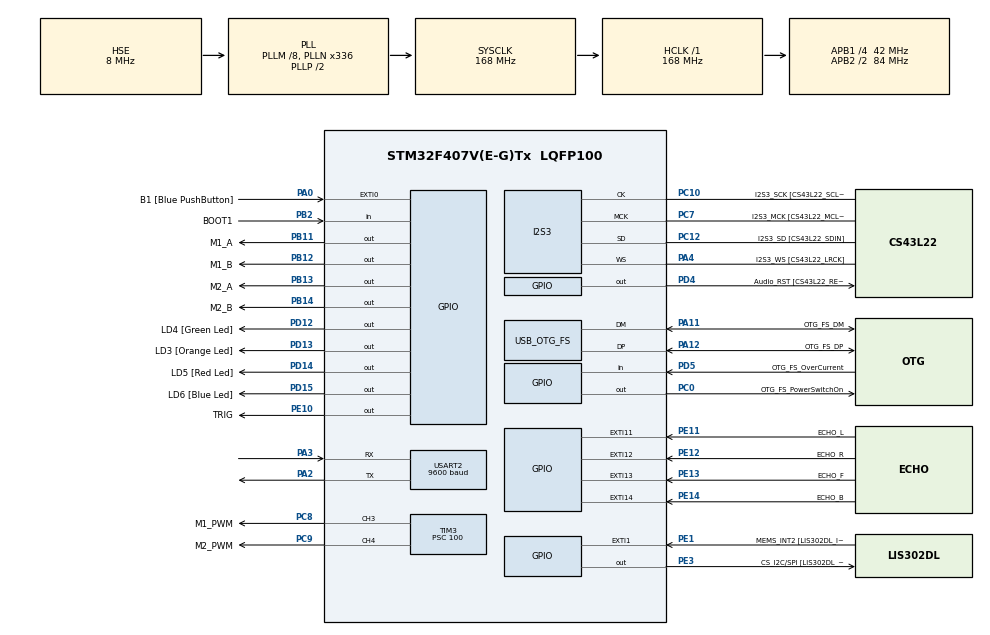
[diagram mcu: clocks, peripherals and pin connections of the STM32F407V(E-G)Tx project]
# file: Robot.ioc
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I2S3.AudioFreq-Half_Duplex_Master=I2S_AUDIOFREQ_96K
I2S3.ErrorAudioFreq=-2.34 %
I2S3.ErrorAudioFreq-Half_Duplex_Master=0.8 %
I2S3.FullDuplexMode=I2S_FULLDUPLEXMODE_DISABLE
I2S3.Instance=SPI$Index
I2S3.RealAudioFreq=93.75 KHz
I2S3.RealAudioFreq-Half_Duplex_Master=96.774 KHz
I2S3.VirtualMode=I2S_MODE_MASTER
Mcu.Family=STM32F4
Mcu.Name=STM32F407V(E-G)Tx
Mcu.Package=LQFP100
NVIC.OTG_FS_IRQn=true\:0\:0\:false\:false\:true\:true\:true\:true
NVIC.PriorityGroup=NVIC_PRIORITYGROUP_0
NVIC.USART2_IRQn=true\:0\:0\:false\:false\:true\:true\:true\:true
PA0-WKUP.GPIO_Label=B1 [Blue PushButton]
PA0-WKUP.GPIO_ModeDefaultEXTI=GPIO_MODE_IT_RISING_FALLING
PA0-WKUP.GPIO_PuPd=GPIO_NOPULL
PA0-WKUP.Signal=GPXTI0
PA10.GPIO_Label=OTG_FS_ID
PA10.GPIO_Mode=GPIO_MODE_AF_PP
PA10.GPIO_PuPd=GPIO_NOPULL
PA10.GPIO_Speed=GPIO_SPEED_FREQ_LOW
PA10.Signal=USB_OTG_FS_ID
PA11.GPIO_Label=OTG_FS_DM
PA11.GPIO_Mode=GPIO_MODE_AF_PP
PA11.GPIO_PuPd=GPIO_NOPULL
PA11.GPIO_Speed=GPIO_SPEED_FREQ_LOW
PA11.Mode=Device_Only
PA11.Signal=USB_OTG_FS_DM
PA12.GPIO_Label=OTG_FS_DP
PA12.GPIO_Mode=GPIO_MODE_AF_PP
PA12.GPIO_PuPd=GPIO_NOPULL
PA12.GPIO_Speed=GPIO_SPEED_FREQ_LOW
PA12.Mode=Device_Only
PA12.Signal=USB_OTG_FS_DP
PA13.GPIO_Label=SWDIO
PA13.Mode=Serial_Wire
PA13.Signal=SYS_JTMS-SWDIO
PA14.GPIO_Label=SWCLK
PA14.Mode=Serial_Wire
PA14.Signal=SYS_JTCK-SWCLK
PA2.Mode=Asynchronous
PA2.Signal=USART2_TX
PA3.Mode=Asynchronous
PA3.Signal=USART2_RX
PA4.GPIO_Label=I2S3_WS [CS43L22_LRCK]
PA4.GPIO_Mode=GPIO_MODE_AF_PP
PA4.GPIO_PuPd=GPIO_NOPULL
PA4.GPIO_Speed=GPIO_SPEED_FREQ_LOW
PA4.Mode=Half_Duplex_Master
PA4.Signal=I2S3_WS
PA5.GPIO_Label=SPI1_SCK [LIS302DL_SCL/SPC]
PA5.GPIO_Mode=GPIO_MODE_AF_PP
PA5.GPIO_PuPd=GPIO_NOPULL
PA5.GPIO_Speed=GPIO_SPEED_FREQ_LOW
PA5.Signal=SPI1_SCK
PA6.GPIO_Label=SPI1_MISO [LIS302DL_SDO]
PA6.GPIO_Mode=GPIO_MODE_AF_PP
PA6.GPIO_PuPd=GPIO_NOPULL
PA6.GPIO_Speed=GPIO_SPEED_FREQ_LOW
PA6.Signal=SPI1_MISO
PA7.GPIO_Label=SPI1_MOSI [LIS302DL_SDA/SDI/SDO]
PA7.GPIO_Mode=GPIO_MODE_AF_PP
PA7.GPIO_PuPd=GPIO_NOPULL
PA7.GPIO_Speed=GPIO_SPEED_FREQ_LOW
PA7.Signal=SPI1_MOSI
PA9.GPIO_Label=VBUS_FS
PA9.GPIO_Mode=GPIO_MODE_INPUT
PA9.GPIO_PuPd=GPIO_NOPULL
PA9.Signal=USB_OTG_FS_VBUS
PB10.GPIO_Label=CLK_IN [MP45DT02_CLK]
PB10.GPIO_Mode=GPIO_MODE_AF_PP
PB10.GPIO_PuPd=GPIO_NOPULL
PB10.GPIO_Speed=GPIO_SPEED_FREQ_LOW
PB10.Signal=I2S2_CK
PB11.GPIO_Label=M1_A
PB11.Signal=GPIO_Output
PB12.GPIO_Label=M1_B
PB12.Signal=GPIO_Output
PB13.GPIO_Label=M2_A
PB13.Signal=GPIO_Output
PB14.GPIO_Label=M2_B
PB14.Signal=GPIO_Output
PB2.GPIO_Label=BOOT1
PB2.GPIO_Mode=GPIO_MODE_INPUT
PB2.GPIO_PuPd=GPIO_NOPULL
PB2.Signal=GPIO_Input
PB3.GPIO_Label=SWO
PB3.Signal=SYS_JTDO-SWO
PB6.GPIO_Label=Audio_SCL [CS43L22_SCL]
PB6.GPIO_Mode=GPIO_MODE_AF_OD
PB6.GPIO_Pu=GPIO_PULLUP
PB6.GPIO_PuPd=GPIO_NOPULL
PB6.GPIO_Speed=GPIO_SPEED_FREQ_LOW
PB6.Signal=I2C1_SCL
PB9.GPIO_Label=Audio_SDA [CS43L22_SDA]
PB9.GPIO_Mode=GPIO_MODE_AF_OD
PB9.GPIO_Pu=GPIO_PULLUP
PB9.GPIO_PuPd=GPIO_NOPULL
PB9.GPIO_Speed=GPIO_SPEED_FREQ_LOW
PB9.Signal=I2C1_SDA
PC0.GPIO_Label=OTG_FS_PowerSwitchOn
PC0.GPIO_PuPd=GPIO_NOPULL
PC0.GPIO_Speed=GPIO_SPEED_FREQ_LOW
PC0.PinState=GPIO_PIN_SET
PC0.Signal=GPIO_Output
PC10.GPIO_Label=I2S3_SCK [CS43L22_SCLK]
PC10.GPIO_Mode=GPIO_MODE_AF_PP
PC10.GPIO_PuPd=GPIO_NOPULL
PC10.GPIO_Speed=GPIO_SPEED_FREQ_LOW
PC10.Mode=Half_Duplex_Master
PC10.Signal=I2S3_CK
PC12.GPIO_Label=I2S3_SD [CS43L22_SDIN]
PC12.GPIO_Mode=GPIO_MODE_AF_PP
PC12.GPIO_PuPd=GPIO_NOPULL
PC12.GPIO_Speed=GPIO_SPEED_FREQ_LOW
PC12.Mode=Half_Duplex_Master
PC12.Signal=I2S3_SD
PC14-OSC32_IN.GPIO_Label=PC14-OSC32_IN
PC14-OSC32_IN.Mode=LSE-External-Oscillator
PC14-OSC32_IN.Signal=RCC_OSC32_IN
PC15-OSC32_OUT.GPIO_Label=PC15-OSC32_OUT
PC15-OSC32_OUT.Mode=LSE-External-Oscillator
PC15-OSC32_OUT.Signal=RCC_OSC32_OUT
PC3.GPIO_Label=PDM_OUT [MP45DT02_DOUT]
PC3.GPIO_Mode=GPIO_MODE_AF_PP
PC3.GPIO_PuPd=GPIO_NOPULL
PC3.GPIO_Speed=GPIO_SPEED_FREQ_LOW
PC3.Signal=I2S2_SD
PC7.GPIO_Label=I2S3_MCK [CS43L22_MCLK]
PC7.GPIO_Mode=GPIO_MODE_AF_PP
PC7.GPIO_PuPd=GPIO_NOPULL
PC7.GPIO_Speed=GPIO_SPEED_FREQ_LOW
PC7.Mode=Master_Clock_Activated
PC7.Signal=I2S3_MCK
PC8.GPIO_Label=M1_PWM
PC8.Signal=S_TIM3_CH3
PC9.GPIO_Label=M2_PWM
PC9.Signal=S_TIM3_CH4
PD12.GPIO_Label=LD4 [Green Led]
PD12.GPIO_PuPd=GPIO_NOPULL
PD12.GPIO_Speed=GPIO_SPEED_FREQ_LOW
PD12.Signal=GPIO_Output
PD13.GPIO_Label=LD3 [Orange Led]
PD13.GPIO_PuPd=GPIO_NOPULL
PD13.GPIO_Speed=GPIO_SPEED_FREQ_LOW
PD13.Signal=GPIO_Output
PD14.GPIO_Label=LD5 [Red Led]
PD14.GPIO_PuPd=GPIO_NOPULL
PD14.GPIO_Speed=GPIO_SPEED_FREQ_LOW
PD14.Signal=GPIO_Output
PD15.GPIO_Label=LD6 [Blue Led]
PD15.GPIO_PuPd=GPIO_NOPULL
PD15.GPIO_Speed=GPIO_SPEED_FREQ_LOW
PD15.Signal=GPIO_Output
PD4.GPIO_Label=Audio_RST [CS43L22_RESET]
PD4.GPIO_PuPd=GPIO_NOPULL
PD4.GPIO_Speed=GPIO_SPEED_FREQ_LOW
PD4.Signal=GPIO_Output
PD5.GPIO_Label=OTG_FS_OverCurrent
PD5.GPIO_Mode=GPIO_MODE_INPUT
PD5.GPIO_PuPd=GPIO_NOPULL
PD5.Signal=GPIO_Input
PE1.GPIO_Label=MEMS_INT2 [LIS302DL_INT2]
PE1.GPIO_ModeDefaultEXTI=GPIO_MODE_EVT_RISING
PE1.GPIO_PuPd=GPIO_NOPULL
PE1.Signal=GPXTI1
PE10.GPIO_Label=TRIG
PE10.Signal=GPIO_Output
PE11.GPIO_Label=ECHO_L
PE11.GPIO_ModeDefaultEXTI=GPIO_MODE_IT_RISING_FALLING
PE11.GPIO_PuPd=GPIO_NOPULL
PE11.Signal=GPXTI11
PE12.GPIO_Label=ECHO_R
PE12.GPIO_ModeDefaultEXTI=GPIO_MODE_IT_RISING_FALLING
PE12.GPIO_PuPd=GPIO_NOPULL
PE12.Signal=GPXTI12
PE13.GPIO_Label=ECHO_F
PE13.GPIO_ModeDefaultEXTI=GPIO_MODE_IT_RISING_FALLING
PE13.GPIO_PuPd=GPIO_NOPULL
PE13.Signal=GPXTI13
PE14.GPIO_Label=ECHO_B
PE14.GPIO_ModeDefaultEXTI=GPIO_MODE_IT_RISING_FALLING
PE14.GPIO_PuPd=GPIO_NOPULL
PE14.Signal=GPXTI14
PE3.GPIO_Label=CS_I2C/SPI [LIS302DL_CS_I2C/SPI]
PE3.GPIO_PuPd=GPIO_NOPULL
PE3.GPIO_Speed=GPIO_SPEED_FREQ_LOW
PE3.Signal=GPIO_Output
PH0-OSC_IN.GPIO_Label=PH0-OSC_IN
PH0-OSC_IN.Mode=HSE-External-Oscillator
PH0-OSC_IN.Signal=RCC_OSC_IN
PH1-OSC_OUT.GPIO_Label=PH1-OSC_OUT
PH1-OSC_OUT.Mode=HSE-External-Oscillator
PH1-OSC_OUT.Signal=RCC_OSC_OUT
ProjectManager.HeapSize=0x200
ProjectManager.StackSize=0x400
ProjectManager.TargetToolchain=STM32CubeIDE
RCC.48MHZClocksFreq_Value=48000000
RCC.AHBFreq_Value=168000000
RCC.APB1CLKDivider=RCC_HCLK_DIV4
RCC.APB1Freq_Value=42000000
RCC.APB1TimFreq_Value=84000000
RCC.APB2CLKDivider=RCC_HCLK_DIV2
RCC.APB2Freq_Value=84000000
RCC.APB2TimFreq_Value=168000000
RCC.CortexFreq_Value=168000000
RCC.HCLKFreq_Value=168000000
RCC.HSE_VALUE=8000000
RCC.HSI_VALUE=16000000
RCC.PLLM=8
RCC.PLLN=336
RCC.PLLQ=7
RCC.SYSCLKFreq_VALUE=168000000
RCC.SYSCLKSource=RCC_SYSCLKSOURCE_PLLCLK
RCC.VCOOutputFreq_Value=336000000
SH.S_TIM3_CH3.0=TIM3_CH3,PWM Generation3 CH3
SH.S_TIM3_CH4.0=TIM3_CH4,PWM Generation4 CH4
TIM2.Period=0xffffffff
TIM2.Prescaler=84-1
TIM3.Channel-PWM\ Generation3\ CH3=TIM_CHANNEL_3
TIM3.Channel-PWM\ Generation4\ CH4=TIM_CHANNEL_4
TIM3.Period=84-1
TIM3.Prescaler=100
TIM4.Period=100000-1
TIM4.Prescaler=84-1
USART2.BaudRate=9600
USART2.VirtualMode=VM_ASYNC
USB_DEVICE.CLASS_NAME_FS=CDC
USB_DEVICE.VirtualMode-CDC_FS=Cdc
USB_DEVICE.VirtualModeFS=Cdc_FS
USB_OTG_FS.VirtualMode=Device_Only
VP_TIM2_VS_ClockSourceINT.Mode=Internal
VP_TIM3_VS_ClockSourceINT.Mode=Internal
VP_TIM4_VS_ClockSourceINT.Mode=Internal
VP_USB_DEVICE_VS_USB_DEVICE_CDC_FS.Mode=CDC_FS
board=STM32F407G-DISC1

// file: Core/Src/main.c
/* USER CODE BEGIN Header */
/**
  ******************************************************************************
  * @file           : main.c
  * @brief          : Main program body
  ******************************************************************************
  * @attention
  *
  * Copyright (c) 2026 STMicroelectronics.
  * All rights reserved.
  *
  * This software is licensed under terms that can be found in the LICENSE file
  * in the root directory of this software component.
  * If no LICENSE file comes with this software, it is provided AS-IS.
  *
  ******************************************************************************
  */
/* USER CODE END Header */
#include "main.h"
#include "usb_device.h"

/* USER CODE BEGIN Includes */
#include <stdio.h>
#include "sonar.h"
#include "motor.h"
#include "maze_map_manual.h"

/* USER CODE END Includes */

I2S_HandleTypeDef hi2s3;

TIM_HandleTypeDef htim2;
TIM_HandleTypeDef htim3;
TIM_HandleTypeDef htim4;

UART_HandleTypeDef huart2;

/* USER CODE BEGIN PV */
volatile uint32_t sonar_print_counter = 0;
volatile uint8_t cmd_buffer = 0;

/* USER CODE END PV */

void SystemClock_Config(void);
static void MX_GPIO_Init(void);
static void MX_I2S3_Init(void);
static void MX_TIM2_Init(void);
static void MX_TIM3_Init(void);
static void MX_USART2_UART_Init(void);
static void MX_TIM4_Init(void);

int main(void)
{

  /* MCU Configuration--------------------------------------------------------*/

  /* Reset of all peripherals, Initializes the Flash interface and the Systick. */
  HAL_Init();

  /* Configure the system clock */
  SystemClock_Config();

  /* Initialize all configured peripherals */
  MX_GPIO_Init();
  MX_I2S3_Init();
  MX_TIM2_Init();
  MX_TIM3_Init();
  MX_USART2_UART_Init();
  MX_USB_DEVICE_Init();
  MX_TIM4_Init();
  /* USER CODE BEGIN 2 */

  // Initialize motor control
  motor_init(&htim3);

  // Initialize sonar driver with TIM2
  sonar_init(GPIOE, TRIG_Pin, &htim2);

  // Start TIM4 to trigger sonar measurements periodically
  HAL_TIM_Base_Start_IT(&htim4);

  // Enable UART receive interrupt for remote control
  HAL_UART_Receive_IT(&huart2, (uint8_t*)&cmd_buffer, 1);

  // Initialize manual mapper controlled via UART 'n' key
  maze_map_manual_init(&huart2);

  /* USER CODE END 2 */

  /* Infinite loop */
  while (1)
  {
	  motor_tick();
	  motor_auto_tick();
    /* USER CODE BEGIN 3 */

    // Print distances every second
    sonar_print_counter++;
    if (sonar_print_counter >= 10) {
      sonar_print_counter = 0;

      uint16_t dist0 = sonar_get_distance(0);
      uint16_t dist1 = sonar_get_distance(1);
      uint16_t dist2 = sonar_get_distance(2);
      uint16_t dist3 = sonar_get_distance(3);

      uint8_t msg[64];
      int len = sprintf((char*)msg, "Sonar: F=%dcm B=%dcm L=%dcm R=%dcm\r\n",
        dist0, dist1, dist3, dist2);
      HAL_UART_Transmit(&huart2, msg, len, HAL_MAX_DELAY);
    }

    HAL_Delay(100);
  }
  /* USER CODE END 3 */
}

void SystemClock_Config(void)
{
  RCC_OscInitTypeDef RCC_OscInitStruct = {0};
  RCC_ClkInitTypeDef RCC_ClkInitStruct = {0};

  /** Configure the main internal regulator output voltage
  */
  __HAL_RCC_PWR_CLK_ENABLE();
  __HAL_PWR_VOLTAGESCALING_CONFIG(PWR_REGULATOR_VOLTAGE_SCALE1);

  /** Initializes the RCC Oscillators according to the specified parameters
  * in the RCC_OscInitTypeDef structure.
  */
  RCC_OscInitStruct.OscillatorType = RCC_OSCILLATORTYPE_HSE;
  RCC_OscInitStruct.HSEState = RCC_HSE_ON;
  RCC_OscInitStruct.PLL.PLLState = RCC_PLL_ON;
  RCC_OscInitStruct.PLL.PLLSource = RCC_PLLSOURCE_HSE;
  RCC_OscInitStruct.PLL.PLLM = 8;
  RCC_OscInitStruct.PLL.PLLN = 336;
  RCC_OscInitStruct.PLL.PLLP = RCC_PLLP_DIV2;
  RCC_OscInitStruct.PLL.PLLQ = 7;
  if (HAL_RCC_OscConfig(&RCC_OscInitStruct) != HAL_OK)
  {
    Error_Handler();
  }

  /** Initializes the CPU, AHB and APB buses clocks
  */
  RCC_ClkInitStruct.ClockType = RCC_CLOCKTYPE_HCLK|RCC_CLOCKTYPE_SYSCLK
                              |RCC_CLOCKTYPE_PCLK1|RCC_CLOCKTYPE_PCLK2;
  RCC_ClkInitStruct.SYSCLKSource = RCC_SYSCLKSOURCE_PLLCLK;
  RCC_ClkInitStruct.AHBCLKDivider = RCC_SYSCLK_DIV1;
  RCC_ClkInitStruct.APB1CLKDivider = RCC_HCLK_DIV4;
  RCC_ClkInitStruct.APB2CLKDivider = RCC_HCLK_DIV2;

  if (HAL_RCC_ClockConfig(&RCC_ClkInitStruct, FLASH_LATENCY_5) != HAL_OK)
  {
    Error_Handler();
  }
}

static void MX_I2S3_Init(void)
{

  hi2s3.Instance = SPI3;
  hi2s3.Init.Mode = I2S_MODE_MASTER_TX;
  hi2s3.Init.Standard = I2S_STANDARD_PHILIPS;
  hi2s3.Init.DataFormat = I2S_DATAFORMAT_16B;
  hi2s3.Init.MCLKOutput = I2S_MCLKOUTPUT_ENABLE;
  hi2s3.Init.AudioFreq = I2S_AUDIOFREQ_96K;
  hi2s3.Init.CPOL = I2S_CPOL_LOW;
  hi2s3.Init.ClockSource = I2S_CLOCK_PLL;
  hi2s3.Init.FullDuplexMode = I2S_FULLDUPLEXMODE_DISABLE;
  if (HAL_I2S_Init(&hi2s3) != HAL_OK)
  {
    Error_Handler();
  }

}

static void MX_TIM2_Init(void)
{

  TIM_ClockConfigTypeDef sClockSourceConfig = {0};
  TIM_MasterConfigTypeDef sMasterConfig = {0};

  htim2.Instance = TIM2;
  htim2.Init.Prescaler = 84-1;
  htim2.Init.CounterMode = TIM_COUNTERMODE_UP;
  htim2.Init.Period = 0xffffffff;
  htim2.Init.ClockDivision = TIM_CLOCKDIVISION_DIV1;
  htim2.Init.AutoReloadPreload = TIM_AUTORELOAD_PRELOAD_DISABLE;
  if (HAL_TIM_Base_Init(&htim2) != HAL_OK)
  {
    Error_Handler();
  }
  sClockSourceConfig.ClockSource = TIM_CLOCKSOURCE_INTERNAL;
  if (HAL_TIM_ConfigClockSource(&htim2, &sClockSourceConfig) != HAL_OK)
  {
    Error_Handler();
  }
  sMasterConfig.MasterOutputTrigger = TIM_TRGO_RESET;
  sMasterConfig.MasterSlaveMode = TIM_MASTERSLAVEMODE_DISABLE;
  if (HAL_TIMEx_MasterConfigSynchronization(&htim2, &sMasterConfig) != HAL_OK)
  {
    Error_Handler();
  }

}

static void MX_TIM3_Init(void)
{

  TIM_ClockConfigTypeDef sClockSourceConfig = {0};
  TIM_MasterConfigTypeDef sMasterConfig = {0};
  TIM_OC_InitTypeDef sConfigOC = {0};

  htim3.Instance = TIM3;
  htim3.Init.Prescaler = 0;
  htim3.Init.CounterMode = TIM_COUNTERMODE_UP;
  htim3.Init.Period = 65535;
  htim3.Init.ClockDivision = TIM_CLOCKDIVISION_DIV1;
  htim3.Init.AutoReloadPreload = TIM_AUTORELOAD_PRELOAD_DISABLE;
  if (HAL_TIM_Base_Init(&htim3) != HAL_OK)
  {
    Error_Handler();
  }
  sClockSourceConfig.ClockSource = TIM_CLOCKSOURCE_INTERNAL;
  if (HAL_TIM_ConfigClockSource(&htim3, &sClockSourceConfig) != HAL_OK)
  {
    Error_Handler();
  }
  if (HAL_TIM_PWM_Init(&htim3) != HAL_OK)
  {
    Error_Handler();
  }
  sMasterConfig.MasterOutputTrigger = TIM_TRGO_RESET;
  sMasterConfig.MasterSlaveMode = TIM_MASTERSLAVEMODE_DISABLE;
  if (HAL_TIMEx_MasterConfigSynchronization(&htim3, &sMasterConfig) != HAL_OK)
  {
    Error_Handler();
  }
  sConfigOC.OCMode = TIM_OCMODE_PWM1;
  sConfigOC.Pulse = 0;
  sConfigOC.OCPolarity = TIM_OCPOLARITY_HIGH;
  sConfigOC.OCFastMode = TIM_OCFAST_DISABLE;
  if (HAL_TIM_PWM_ConfigChannel(&htim3, &sConfigOC, TIM_CHANNEL_3) != HAL_OK)
  {
    Error_Handler();
  }
  if (HAL_TIM_PWM_ConfigChannel(&htim3, &sConfigOC, TIM_CHANNEL_4) != HAL_OK)
  {
    Error_Handler();
  }
  HAL_TIM_MspPostInit(&htim3);

}

static void MX_TIM4_Init(void)
{

  TIM_ClockConfigTypeDef sClockSourceConfig = {0};
  TIM_MasterConfigTypeDef sMasterConfig = {0};

  htim4.Instance = TIM4;
  htim4.Init.Prescaler = 84-1;
  htim4.Init.CounterMode = TIM_COUNTERMODE_UP;
  htim4.Init.Period = 100000-1;
  htim4.Init.ClockDivision = TIM_CLOCKDIVISION_DIV1;
  htim4.Init.AutoReloadPreload = TIM_AUTORELOAD_PRELOAD_DISABLE;
  if (HAL_TIM_Base_Init(&htim4) != HAL_OK)
  {
    Error_Handler();
  }
  sClockSourceConfig.ClockSource = TIM_CLOCKSOURCE_INTERNAL;
  if (HAL_TIM_ConfigClockSource(&htim4, &sClockSourceConfig) != HAL_OK)
  {
    Error_Handler();
  }
  sMasterConfig.MasterOutputTrigger = TIM_TRGO_RESET;
  sMasterConfig.MasterSlaveMode = TIM_MASTERSLAVEMODE_DISABLE;
  if (HAL_TIMEx_MasterConfigSynchronization(&htim4, &sMasterConfig) != HAL_OK)
  {
    Error_Handler();
  }

}

static void MX_USART2_UART_Init(void)
{

  huart2.Instance = USART2;
  huart2.Init.BaudRate = 9600;
  huart2.Init.WordLength = UART_WORDLENGTH_8B;
  huart2.Init.StopBits = UART_STOPBITS_1;
  huart2.Init.Parity = UART_PARITY_NONE;
  huart2.Init.Mode = UART_MODE_TX_RX;
  huart2.Init.HwFlowCtl = UART_HWCONTROL_NONE;
  huart2.Init.OverSampling = UART_OVERSAMPLING_16;
  if (HAL_UART_Init(&huart2) != HAL_OK)
  {
    Error_Handler();
  }

}

static void MX_GPIO_Init(void)
{
  GPIO_InitTypeDef GPIO_InitStruct = {0};

  /* GPIO Ports Clock Enable */
  __HAL_RCC_GPIOE_CLK_ENABLE();
  __HAL_RCC_GPIOC_CLK_ENABLE();
  __HAL_RCC_GPIOH_CLK_ENABLE();
  __HAL_RCC_GPIOA_CLK_ENABLE();
  __HAL_RCC_GPIOB_CLK_ENABLE();
  __HAL_RCC_GPIOD_CLK_ENABLE();

  /*Configure GPIO pin Output Level */
  HAL_GPIO_WritePin(GPIOE, CS_I2C_SPI_Pin|TRIG_Pin, GPIO_PIN_RESET);

  /*Configure GPIO pin Output Level */
  HAL_GPIO_WritePin(OTG_FS_PowerSwitchOn_GPIO_Port, OTG_FS_PowerSwitchOn_Pin, GPIO_PIN_SET);

  /*Configure GPIO pin Output Level */
  HAL_GPIO_WritePin(GPIOB, M1_A_Pin|M1_B_Pin|M2_A_Pin|M2_B_Pin, GPIO_PIN_RESET);

  /*Configure GPIO pin Output Level */
  HAL_GPIO_WritePin(GPIOD, LD4_Pin|LD3_Pin|LD5_Pin|LD6_Pin
                          |Audio_RST_Pin, GPIO_PIN_RESET);

  /*Configure GPIO pins : CS_I2C_SPI_Pin TRIG_Pin */
  GPIO_InitStruct.Pin = CS_I2C_SPI_Pin|TRIG_Pin;
  GPIO_InitStruct.Mode = GPIO_MODE_OUTPUT_PP;
  GPIO_InitStruct.Pull = GPIO_NOPULL;
  GPIO_InitStruct.Speed = GPIO_SPEED_FREQ_LOW;
  HAL_GPIO_Init(GPIOE, &GPIO_InitStruct);

  /*Configure GPIO pin : OTG_FS_PowerSwitchOn_Pin */
  GPIO_InitStruct.Pin = OTG_FS_PowerSwitchOn_Pin;
  GPIO_InitStruct.Mode = GPIO_MODE_OUTPUT_PP;
  GPIO_InitStruct.Pull = GPIO_NOPULL;
  GPIO_InitStruct.Speed = GPIO_SPEED_FREQ_LOW;
  HAL_GPIO_Init(OTG_FS_PowerSwitchOn_GPIO_Port, &GPIO_InitStruct);

  /*Configure GPIO pin : PDM_OUT_Pin */
  GPIO_InitStruct.Pin = PDM_OUT_Pin;
  GPIO_InitStruct.Mode = GPIO_MODE_AF_PP;
  GPIO_InitStruct.Pull = GPIO_NOPULL;
  GPIO_InitStruct.Speed = GPIO_SPEED_FREQ_LOW;
  GPIO_InitStruct.Alternate = GPIO_AF5_SPI2;
  HAL_GPIO_Init(PDM_OUT_GPIO_Port, &GPIO_InitStruct);

  /*Configure GPIO pin : B1_Pin */
  GPIO_InitStruct.Pin = B1_Pin;
  GPIO_InitStruct.Mode = GPIO_MODE_IT_RISING_FALLING;
  GPIO_InitStruct.Pull = GPIO_NOPULL;
  HAL_GPIO_Init(B1_GPIO_Port, &GPIO_InitStruct);

  /*Configure GPIO pins : SPI1_SCK_Pin SPI1_MISO_Pin SPI1_MOSI_Pin */
  GPIO_InitStruct.Pin = SPI1_SCK_Pin|SPI1_MISO_Pin|SPI1_MOSI_Pin;
  GPIO_InitStruct.Mode = GPIO_MODE_AF_PP;
  GPIO_InitStruct.Pull = GPIO_NOPULL;
  GPIO_InitStruct.Speed = GPIO_SPEED_FREQ_LOW;
  GPIO_InitStruct.Alternate = GPIO_AF5_SPI1;
  HAL_GPIO_Init(GPIOA, &GPIO_InitStruct);

  /*Configure GPIO pin : BOOT1_Pin */
  GPIO_InitStruct.Pin = BOOT1_Pin;
  GPIO_InitStruct.Mode = GPIO_MODE_INPUT;
  GPIO_InitStruct.Pull = GPIO_NOPULL;
  HAL_GPIO_Init(BOOT1_GPIO_Port, &GPIO_InitStruct);

  /*Configure GPIO pins : ECHO_L_Pin ECHO_R_Pin ECHO_F_Pin ECHO_B_Pin */
  GPIO_InitStruct.Pin = ECHO_L_Pin|ECHO_R_Pin|ECHO_F_Pin|ECHO_B_Pin;
  GPIO_InitStruct.Mode = GPIO_MODE_IT_RISING_FALLING;
  GPIO_InitStruct.Pull = GPIO_NOPULL;
  HAL_GPIO_Init(GPIOE, &GPIO_InitStruct);

  /*Configure GPIO pin : CLK_IN_Pin */
  GPIO_InitStruct.Pin = CLK_IN_Pin;
  GPIO_InitStruct.Mode = GPIO_MODE_AF_PP;
  GPIO_InitStruct.Pull = GPIO_NOPULL;
  GPIO_InitStruct.Speed = GPIO_SPEED_FREQ_LOW;
  GPIO_InitStruct.Alternate = GPIO_AF5_SPI2;
  HAL_GPIO_Init(CLK_IN_GPIO_Port, &GPIO_InitStruct);

  /*Configure GPIO pins : M1_A_Pin M1_B_Pin M2_A_Pin M2_B_Pin */
  GPIO_InitStruct.Pin = M1_A_Pin|M1_B_Pin|M2_A_Pin|M2_B_Pin;
  GPIO_InitStruct.Mode = GPIO_MODE_OUTPUT_PP;
  GPIO_InitStruct.Pull = GPIO_NOPULL;
  GPIO_InitStruct.Speed = GPIO_SPEED_FREQ_LOW;
  HAL_GPIO_Init(GPIOB, &GPIO_InitStruct);

  /*Configure GPIO pins : LD4_Pin LD3_Pin LD5_Pin LD6_Pin
                           Audio_RST_Pin */
  GPIO_InitStruct.Pin = LD4_Pin|LD3_Pin|LD5_Pin|LD6_Pin
                          |Audio_RST_Pin;
  GPIO_InitStruct.Mode = GPIO_MODE_OUTPUT_PP;
  GPIO_InitStruct.Pull = GPIO_NOPULL;
  GPIO_InitStruct.Speed = GPIO_SPEED_FREQ_LOW;
  HAL_GPIO_Init(GPIOD, &GPIO_InitStruct);

  /*Configure GPIO pin : OTG_FS_OverCurrent_Pin */
  GPIO_InitStruct.Pin = OTG_FS_OverCurrent_Pin;
  GPIO_InitStruct.Mode = GPIO_MODE_INPUT;
  GPIO_InitStruct.Pull = GPIO_NOPULL;
  HAL_GPIO_Init(OTG_FS_OverCurrent_GPIO_Port, &GPIO_InitStruct);

  /*Configure GPIO pins : Audio_SCL_Pin Audio_SDA_Pin */
  GPIO_InitStruct.Pin = Audio_SCL_Pin|Audio_SDA_Pin;
  GPIO_InitStruct.Mode = GPIO_MODE_AF_OD;
  GPIO_InitStruct.Pull = GPIO_PULLUP;
  GPIO_InitStruct.Speed = GPIO_SPEED_FREQ_LOW;
  GPIO_InitStruct.Alternate = GPIO_AF4_I2C1;
  HAL_GPIO_Init(GPIOB, &GPIO_InitStruct);

  /*Configure GPIO pin : MEMS_INT2_Pin */
  GPIO_InitStruct.Pin = MEMS_INT2_Pin;
  GPIO_InitStruct.Mode = GPIO_MODE_EVT_RISING;
  GPIO_InitStruct.Pull = GPIO_NOPULL;
  HAL_GPIO_Init(MEMS_INT2_GPIO_Port, &GPIO_InitStruct);

  /* USER CODE BEGIN MX_GPIO_Init_2 */

  /* Enable EXTI15_10 interrupt for sonar echo pins (PE11-PE14) */
  HAL_NVIC_EnableIRQ(EXTI15_10_IRQn);
  HAL_NVIC_SetPriority(EXTI15_10_IRQn, 0, 0);

  /* Enable EXTI0 interrupt for blue button (PA0) */
  HAL_NVIC_EnableIRQ(EXTI0_IRQn);
  HAL_NVIC_SetPriority(EXTI0_IRQn, 0, 0);

  /* Enable TIM4 interrupt for sonar triggering */
  HAL_NVIC_EnableIRQ(TIM4_IRQn);
  HAL_NVIC_SetPriority(TIM4_IRQn, 1, 0);

  /* USER CODE END MX_GPIO_Init_2 */
}

/* USER CODE BEGIN 4 */

/**
  * @brief UART receive complete callback
  */
void HAL_UART_RxCpltCallback(UART_HandleTypeDef *huart)
{
  if (huart->Instance == USART2) {
    if (cmd_buffer == 'n' || cmd_buffer == 'N') {
      maze_map_manual_scan_next();
    } else if (cmd_buffer == 'r' || cmd_buffer == 'R') {
      maze_map_manual_reset();
    } else if (cmd_buffer == 'x' || cmd_buffer == 'X') {
      maze_map_manual_print_map();
    } else if (cmd_buffer == 'w' || cmd_buffer == 'W' ||
               cmd_buffer == 's' || cmd_buffer == 'S' ||
               cmd_buffer == 'a' || cmd_buffer == 'A' ||
               cmd_buffer == 'd' || cmd_buffer == 'D') {
      maze_map_manual_move(cmd_buffer);
      motor_usart_command(cmd_buffer);
    } else {
      motor_usart_command(cmd_buffer);
    }
    HAL_UART_Receive_IT(&huart2, (uint8_t*)&cmd_buffer, 1);
  }
}

/* USER CODE END 4 */

void Error_Handler(void)
{
  __disable_irq();
  while (1)
  {
  }
}
